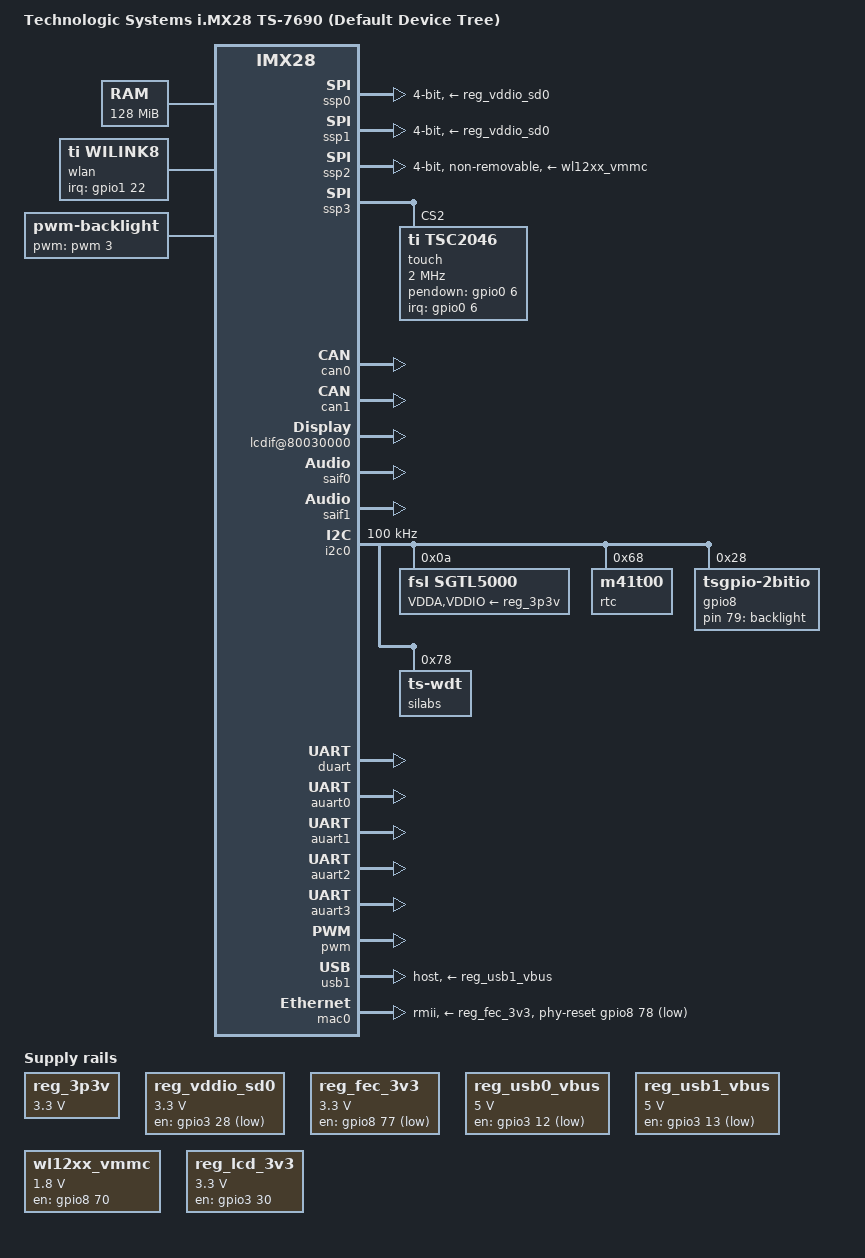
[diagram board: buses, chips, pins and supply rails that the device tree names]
/*
 * Copyright (C) 2012 Marek Vasut <marex@denx.de>
 *
 * The code contained herein is licensed under the GNU General Public
 * License. You may obtain a copy of the GNU General Public License
 * Version 2 or later at the following locations:
 *
 * http://www.opensource.org/licenses/gpl-license.html
 * http://www.gnu.org/copyleft/gpl.html
 */

/dts-v1/;
#include "imx28.dtsi"
#include "dt-bindings/gpio/gpio.h"
#include <dt-bindings/interrupt-controller/irq.h>

/ {

	model = "Technologic Systems i.MX28 TS-7690 (Default Device Tree)";
	compatible = "fsl,imx28-ts7690", "fsl,imx28";

	aliases {
		mmc0 = &ssp0;
		mmc2 = &ssp1;
		i2c0 = &i2c0;
		i2c1 = &i2c1_gpio;
	};

	memory {
		reg = <0x40000000 0x08000000>;   /* 128MB */
	};

	apb@80000000 {
		apbh@80000000 {
		
			ssp0: ssp@80010000 {
				compatible = "fsl,imx28-mmc";
				pinctrl-names = "default";
				pinctrl-0 = <&mmc0_4bit_pins_ts7690
					     &mmc0_sck_cfg
					     &en_sd_pwr>;
				broken-cd = <1>;	     
				bus-width = <4>;
				vmmc-supply = <&reg_vddio_sd0>;
				status = "okay";
			};

			ssp1: ssp@80012000 {
				compatible = "fsl,imx28-mmc";
				pinctrl-names = "default";
				pinctrl-0 = <&mmc1_4bit_pins
					     &en_sd_pwr>;
				broken-cd = <1>;	     
				bus-width = <4>;
				vmmc-supply = <&reg_vddio_sd0>;
				status = "okay";
			};
						
			ssp2: ssp@80014000 {
				compatible = "fsl,imx28-mmc";
				max-frequency = <26000000>;
				pinctrl-names = "default";
				pinctrl-0 = <&mmc2_4bit_pins
				            &mmc_sck_cfg 
				            &wifi_irq>;
				broken-cd = <1>;				
				cap-sdio-irq;
				non-removable;
				bus-width = <4>;
				vmmc-supply = <&wl12xx_vmmc>;
				status = "okay";
			};

			ssp3: ssp@80016000 {
				#address-cells = <1>;
				#size-cells = <0>;
				compatible = "fsl,imx28-spi";
				pinctrl-names = "default";
				pinctrl-0 = <&spi3_pins_b>;
				status = "okay";

				touch: tsc2046@2 {
					compatible = "ti,tsc2046";
					reg = <2>;
					interrupt-parent = <&gpio0>;
					interrupts = <6 2>;
					spi-max-frequency = <2000000>;
					pendown-gpio = <&gpio0 6 0>;
					ti,penirq-recheck-delay-usecs = /bits/ 16 <5000>;
					ti,vref-mv = <3300>;
					ti,swap-xy;
					ti,keep-vref-on;
					ti,vref-delay-usecs = /bits/ 16 <0>;
					ti,x-plate-ohms = /bits/ 16 <400>;
					ti,y-plate-ohms = /bits/ 16 <400>;
					ti,debounce-max = /bits/ 16 <10>;
					ti,debounce-tol = /bits/ 16 <3>;
					ti,debounce-rep = /bits/ 16 <3>;
					ti,settle-delay-usec = /bits/ 16 <150>;
					linux,wakeup;
				};
			};
			
			
			pinctrl@80018000 {
				pinctrl-names = "default";
				
				en_sd_pwr: en_sd_pwr {
				   fsl,pinmux-ids = <
				      MX28_PAD_PWM3__GPIO_3_28   // EN_SD_POWER#
				   >;
				   fsl,drive-strength = <MXS_DRIVE_4mA>;
					fsl,voltage = <MXS_VOLTAGE_HIGH>;
					fsl,pull-up = <MXS_PULL_DISABLE>;				   
				};

				ts7690_lcdif_pins: ts7690_lcdif_pins {
					reg = <0>;
					fsl,pinmux-ids = <
						MX28_PAD_LCD_D01__LCD_D1
						MX28_PAD_LCD_D02__LCD_D2
						MX28_PAD_LCD_D03__LCD_D3
						MX28_PAD_LCD_D04__LCD_D4
						MX28_PAD_LCD_D05__LCD_D5
						MX28_PAD_LCD_D06__LCD_D6
						MX28_PAD_LCD_D07__LCD_D7
						MX28_PAD_LCD_D09__LCD_D9
						MX28_PAD_LCD_D10__LCD_D10
						MX28_PAD_LCD_D11__LCD_D11
						MX28_PAD_LCD_D12__LCD_D12
						MX28_PAD_LCD_D13__LCD_D13
						MX28_PAD_LCD_D14__LCD_D14
						MX28_PAD_LCD_D15__LCD_D15
						MX28_PAD_LCD_D17__LCD_D17
						MX28_PAD_LCD_D18__LCD_D18
						MX28_PAD_LCD_D19__LCD_D19
						MX28_PAD_LCD_D20__LCD_D20
						MX28_PAD_LCD_D21__LCD_D21
						MX28_PAD_LCD_D22__LCD_D22
						MX28_PAD_LCD_D23__LCD_D23
						MX28_PAD_LCD_CS__LCD_ENABLE
						MX28_PAD_LCD_RS__LCD_DOTCLK
					>;
					fsl,drive-strength = <MXS_DRIVE_4mA>;
					fsl,voltage = <MXS_VOLTAGE_HIGH>;
					fsl,pull-up = <MXS_PULL_DISABLE>;
				};

				/* XXX: some of these are in GPIO mode still */
				spi3_pins_b: ts7690touchpins {
					reg = <0>;
					fsl,pinmux-ids = <
						MX28_PAD_GPMI_RDN__SSP3_SCK
						MX28_PAD_GPMI_RESETN__SSP3_CMD
						MX28_PAD_GPMI_CE0N__SSP3_D0
						MX28_PAD_GPMI_CE1N__SSP3_D3
						MX28_PAD_GPMI_ALE__SSP3_D1
						MX28_PAD_GPMI_CLE__SSP3_D2
					>;
					fsl,drive-strength = <MXS_DRIVE_8mA>;
					fsl,voltage = <MXS_VOLTAGE_HIGH>;
					fsl,pull-up = <MXS_PULL_DISABLE>;
				};

				mmc0_4bit_pins_ts7690: mmc0-4bit@0 {
					reg = <0>;
					fsl,pinmux-ids = <
						MX28_PAD_SSP0_DATA0__SSP0_D0
						MX28_PAD_SSP0_DATA1__SSP0_D1
						MX28_PAD_SSP0_DATA2__SSP0_D2
						MX28_PAD_SSP0_DATA3__SSP0_D3
						MX28_PAD_SSP0_CMD__SSP0_CMD						
						MX28_PAD_SSP0_SCK__SSP0_SCK
					>;
					fsl,drive-strength = <MXS_DRIVE_8mA>;
					fsl,voltage = <MXS_VOLTAGE_HIGH>;
					fsl,pull-up = <MXS_PULL_ENABLE>;
				};

				mmc1_4bit_pins: mmc1-4bit@0 {
					reg = <0>;
					fsl,pinmux-ids = <
						MX28_PAD_GPMI_WRN__SSP1_SCK

						MX28_PAD_GPMI_RDY1__SSP1_CMD
						MX28_PAD_GPMI_D00__SSP1_D0
						MX28_PAD_GPMI_D01__SSP1_D1
						MX28_PAD_GPMI_D02__SSP1_D2
						MX28_PAD_GPMI_D03__SSP1_D3
					>;
					fsl,drive-strength = <MXS_DRIVE_8mA>;
					fsl,voltage = <MXS_VOLTAGE_HIGH>;
					fsl,pull-up = <MXS_PULL_ENABLE>;
				};
				
				mmc2_4bit_pins: mmc2-4bit@0 {   /* wifi */
					reg = <0>;
					fsl,pinmux-ids = <
						MX28_PAD_SSP0_DATA4__SSP2_D0
						MX28_PAD_SSP2_SS1__SSP2_D1
						MX28_PAD_SSP2_SS2__SSP2_D2
						MX28_PAD_SSP0_DATA5__SSP2_D3
						MX28_PAD_SSP0_DATA6__SSP2_CMD
						MX28_PAD_SSP0_DATA7__SSP2_SCK						
						MX28_PAD_SSP0_DETECT__GPIO_2_9
					>;
					fsl,drive-strength = <MXS_DRIVE_8mA>;
					fsl,voltage = <MXS_VOLTAGE_LOW>;
					fsl,pull-up = <MXS_PULL_ENABLE>;
				};

				
				wifi_irq: wifi-irq {									
					fsl,pinmux-ids = <					   
						MX28_PAD_LCD_D22__GPIO_1_22
					>;
					fsl,drive-strength = <MXS_DRIVE_8mA>;
					fsl,pull-up = <MXS_PULL_ENABLE>;
				};

				mmc_sck_cfg: mmc-sck-cfg {
					fsl,pinmux-ids = <
						MX28_PAD_SSP0_DATA7__SSP2_SCK
					>;
					fsl,drive-strength = <MXS_DRIVE_12mA>;
					fsl,pull-up = <MXS_PULL_DISABLE>;
				};
				
			  i2c1_gpio_pins: i2c1_gpio_pins@0 {			  
			     fsl,pinmux-ids = <
				      MX28_PAD_AUART0_RTS__GPIO_3_3   // E2_I2C_CLK
				      MX28_PAD_AUART0_CTS__GPIO_3_2   // E2_I2C_DAT
				   >;
				   fsl,drive-strength = <MXS_DRIVE_4mA>;
					fsl,voltage = <MXS_VOLTAGE_HIGH>;
					fsl,pull-up = <MXS_PULL_ENABLE>;				  
			  };				
			  
			  
			  spi_boot_pins_auart2: spi-boot-pins-auart2@0 {
			      reg = <0>;
					fsl,pinmux-ids = <
						MX28_PAD_SSP2_SCK__AUART2_RX
						MX28_PAD_SSP2_MOSI__AUART2_TX
					>;
					fsl,drive-strength = <MXS_DRIVE_4mA>;
					fsl,voltage = <MXS_VOLTAGE_HIGH>;
					fsl,pull-up = <MXS_PULL_DISABLE>;
			  };

			  spi_boot_pins_auart3: spi-boot-pins-auart3@0 {
			      reg = <0>;
					fsl,pinmux-ids = <
						MX28_PAD_SSP2_MISO__AUART3_RX
						MX28_PAD_SSP2_SS0__AUART3_TX
					>;
					fsl,drive-strength = <MXS_DRIVE_4mA>;
					fsl,voltage = <MXS_VOLTAGE_HIGH>;
					fsl,pull-up = <MXS_PULL_DISABLE>;
			  };

			  auart4_pins: auart4@0 {
			      reg = <0>;
					fsl,pinmux-ids = <
						MX28_PAD_SAIF0_BITCLK__AUART4_RX
						MX28_PAD_SAIF0_SDATA0__AUART4_TX
						>;
					fsl,drive-strength = <MXS_DRIVE_4mA>;
					fsl,voltage = <MXS_VOLTAGE_HIGH>;
					fsl,pull-up = <MXS_PULL_DISABLE>;
			  };

			};
			
			can0: can@80032000 {
				pinctrl-names = "default";
				pinctrl-0 = <&can0_pins_a>;
				status = "okay";
			};

			can1: can@80034000 {
				pinctrl-names = "default";
				pinctrl-0 = <&can1_pins_a>;
				status = "okay";
			};

			lcdif@80030000 {
				compatible = "fsl,imx28-lcdif";
				pinctrl-names = "default";
				pinctrl-0 = <&ts7690_lcdif_pins>;
				lcd-supply = <&reg_lcd_3v3>;
				display = <&display>;
				status = "okay";
	
				display: display {
					bits-per-pixel = <32>;
					bus-width = <24>;
	
					display-timings {
						native-mode = <&timing0>;
						timing0: timing0 {
							clock-frequency = <33500000>;
							hactive = <800>;
							vactive = <480>;
							hback-porch = <89>;
							hfront-porch = <164>;
							vback-porch = <23>;
							vfront-porch = <10>;
							hsync-len = <10>;
							vsync-len = <10>;
							hsync-active = <0>;
							vsync-active = <0>;
							de-active = <1>;
							pixelclk-active = <0>;
						};
					};
				};
			};
		};

		apbx@80040000 {
			saif0: saif@80042000 {
				pinctrl-names = "default";
				pinctrl-0 = <&saif0_pins_a>;
				status = "okay";
			};

			saif1: saif@80046000 {
				pinctrl-names = "default";
				pinctrl-0 = <&saif1_pins_a>;
				fsl,saif-master = <&saif0>;
				status = "okay";
			};


			i2c0: i2c@80058000 {
				pinctrl-names = "default";
				pinctrl-0 = <&i2c0_pins_a>;
				clock-frequency = <100000>;
				status = "okay";

				sgtl5000: codec@0a {
					compatible = "fsl,sgtl5000";
					reg = <0x0a>;
					VDDA-supply = <&reg_3p3v>;
					VDDIO-supply = <&reg_3p3v>;
					clocks = <&saif0>;
				};

				rtc: m41t00s@68 {
					compatible = "m41t00";
					reg = <0x68>;
				};

				gpio8: ts7680gpio@28 {
					compatible = "tsgpio-2bitio";
					reg = <0x28>;   
					#gpio-cells = <2>;
					gpio-controller;
				};

				silabs: silabs@78 {
					compatible = "ts-wdt";
					reg = <0x78>;
				};
			};

			i2c1_gpio: i2c1_gpio@0 {
				compatible = "i2c-gpio";
				gpios = <&gpio3 2 0       // E2_I2C_DAT
					&gpio3 3 0          // E2_I2C_CLK
				>;
				i2c-gpio,sda-open-drain;
				i2c-gpio,scl-open-drain;
				i2c-gpio,delay-us = <2>;	/* ~100 kHz */
				i2c-gpio,timeout-ms = <500>; 
				#address-cells = <1>;
				#size-cells = <0>;			   
				pinctrl-names = "default";
				pinctrl-0 = <&i2c1_gpio_pins>;
				status = "disabled";
			};
			
			duart: serial@80074000 {
				pinctrl-names = "default";
				pinctrl-0 = <&duart_pins_a>;
				status = "okay";
			};

			usbphy0: usbphy@8007c000 {
				status = "okay";
								
			};

			usbphy1: usbphy@8007e000 {			   
				status = "okay";
			};


			auart0: serial@8006a000 {
				pinctrl-names = "default";
				pinctrl-0 = <&auart0_2pins_a>;
				status = "okay";
			};

			auart1: serial@8006c000 {
				pinctrl-names = "default";
				pinctrl-0 = <&auart1_2pins_a>;
				status = "okay";
			};

			auart2: serial@8006e000 {
				pinctrl-names = "default";
				pinctrl-0 = <&spi_boot_pins_auart2>;
				status = "okay";
			};

			auart3: serial@80070000 {
				pinctrl-names = "default";
				pinctrl-0 = <&spi_boot_pins_auart3>;
				status = "okay";
			};

			auart4: serial@80072000 {
				pinctrl-names = "default";
				pinctrl-0 = <&auart4_pins>;
				status = "disabled";
			};

			pwm: pwm@80064000 {
				pinctrl-names = "default";
				pinctrl-0 = <&pwm3_pins_a>;
				status = "okay";
			};
		};
	};

	ahb@80080000 {	   
		usb1: usb@80090000 {
			vbus-supply = <&reg_usb1_vbus>;		
			disable-over-current;
			dr_mode = "host";
			status = "okay";
		};

		mac0: ethernet@800f0000 {
			phy-mode = "rmii";
			pinctrl-names = "default";
			pinctrl-0 = <&mac0_pins_a>;
			phy-supply = <&reg_fec_3v3>;
			phy-reset-gpios = <&gpio8 78 GPIO_ACTIVE_LOW>;
			phy-reset-duration = <1>;
			status = "okay";

			phy: ethernet@0 {
				device_type = "network";
				fixed-link = <0 1 100 0 0>;
			};
		};
	};

	regulators {
		compatible = "simple-bus";

		reg_3p3v: 3p3v {
			compatible = "regulator-fixed";
			regulator-name = "3P3V";
			regulator-min-microvolt = <3300000>;
			regulator-max-microvolt = <3300000>;
			regulator-always-on;
		};
		
		
		reg_vddio_sd0: vddio-sd0 {
			compatible = "regulator-fixed";
			regulator-name = "vddio-sd0";
			regulator-min-microvolt = <3300000>;
			regulator-max-microvolt = <3300000>;
			regulator-boot-on;
			gpio = <&gpio3 28 0>;
			};

                reg_fec_3v3: fec-3v3 {
                        compatible = "regulator-fixed";
                        regulator-name = "fec-3v3";
                        regulator-min-microvolt = <3300000>;
                        regulator-max-microvolt = <3300000>;
                        gpio = <&gpio8 77 GPIO_ACTIVE_HIGH>;
                };
		
		reg_usb0_vbus: usb0_vbus {
			compatible = "regulator-fixed";
			regulator-name = "usb0_vbus";
			regulator-min-microvolt = <5000000>;
			regulator-max-microvolt = <5000000>;
			gpio = <&gpio3 12 0>;
			
		};

		reg_usb1_vbus: usb1_vbus {
			compatible = "regulator-fixed";
			regulator-name = "usb1_vbus";
			regulator-min-microvolt = <5000000>;
			regulator-max-microvolt = <5000000>;
			gpio = <&gpio3 13 0>;
			regulator-always-on;
		};
		
		
		wl12xx_vmmc: wl12xx-vmmc {		
			compatible = "regulator-fixed";
			regulator-name = "vddio-sd1";
			regulator-min-microvolt = <1800000>;
			regulator-max-microvolt = <1800000>;
			gpio = <&gpio8 70 0>;
			startup-delay-us = <70000>;
			enable-active-high;
			regulator-boot-on;
		};

		reg_lcd_3v3: lcd-3v3 {
			compatible = "regulator-fixed";
			regulator-name = "lcd-3v3";
			regulator-min-microvolt = <3300000>;
			regulator-max-microvolt = <3300000>;
			gpio = <&gpio3 30 0>;
			enable-active-high;
		};


	};
	
	wlan  {
		compatible = "ti,wilink8";		
		interrupt-parent = <&gpio1>;		
		interrupts = <22 IRQ_TYPE_EDGE_FALLING>;
		interrupt-names = "wlan";
		status = "okay";
	};

	sound {
		compatible = "fsl,imx28-evk-sgtl5000",
			"fsl,mxs-audio-sgtl5000";
		model = "imx28-evk-sgtl5000";
		saif-controllers = <&saif0 &saif1>;
		audio-codec = <&sgtl5000>;
	};

	backlight {
		compatible = "pwm-backlight";
		pwms = <&pwm 3 5000000>;
		brightness-levels = <0 1 2 4 8 16 32 64 128 255>;
		default-brightness-level = <9>;
	};

	leds {
		compatible = "gpio-leds";
		backlight_en {
			label = "backlight";
			gpios = <&gpio8 79 GPIO_ACTIVE_HIGH>;
			default-state = "on";
			linux,default-trigger = "backlight";
		};
	};
			
				
};


